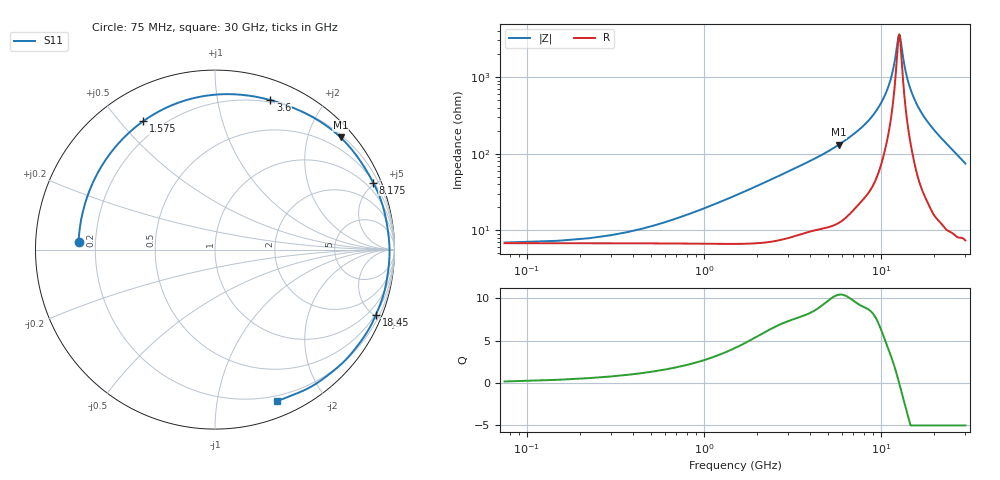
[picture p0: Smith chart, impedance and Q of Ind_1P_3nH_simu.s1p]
#  Hz  S  RI  R  50
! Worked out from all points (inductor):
!   400 points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, 75 MHz to 30 GHz, reference 50 ohm
!   read as one part to ground: L = 2.88 nH near 1.125 GHz
!   highest Q = 10.4 at 5.775 GHz (marker M1), where L = 3.58 nH
!   self-resonance near 12.69 GHz
!   S11 on the Smith chart (normalised r, x): 75 MHz: 0.14, +0.03; 1.575 GHz: 0.13, +0.58; 3.6 GHz: 0.18, +1.42; 8.175 GHz: 0.55, +4.86; 18.45 GHz: 0.45, -5.11; 30 GHz: 0.15, -1.47
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7.5e7  -0.7603 0.0415
3.75e8  -0.7377 0.2052
7.5e8  -0.6692 0.3967
1.2e9  -0.5378 0.5918
1.575e9  -0.4 0.7155
1.8e9  -0.3107 0.7709
2.025e9  -0.2199 0.8126
2.475e9  -0.0435 0.8582
3e9  0.1388 0.8633
3.6e9  0.3086 0.8331
3.825e9  0.3629 0.8168
4.275e9  0.4599 0.7798
4.8e9  0.5574 0.7307
5.775e9  0.6995 0.6253
6.6e9  0.7821 0.532
7.575e9  0.8491 0.4311
8.175e9  0.8812 0.3736
9.6e9  0.9351 0.2424
1.1325e10  0.9639 0.1014
1.305e10  0.9725 -0.026
1.5075e10  0.9587 -0.1609
1.845e10  0.8972 -0.3626
1.8825e10  0.8878 -0.3834
2.0475e10  0.839 -0.4728
2.2575e10  0.762 -0.5764
2.6325e10  0.5795 -0.7363
2.775e10  0.4919 -0.7858
3e10  0.3427 -0.8448
